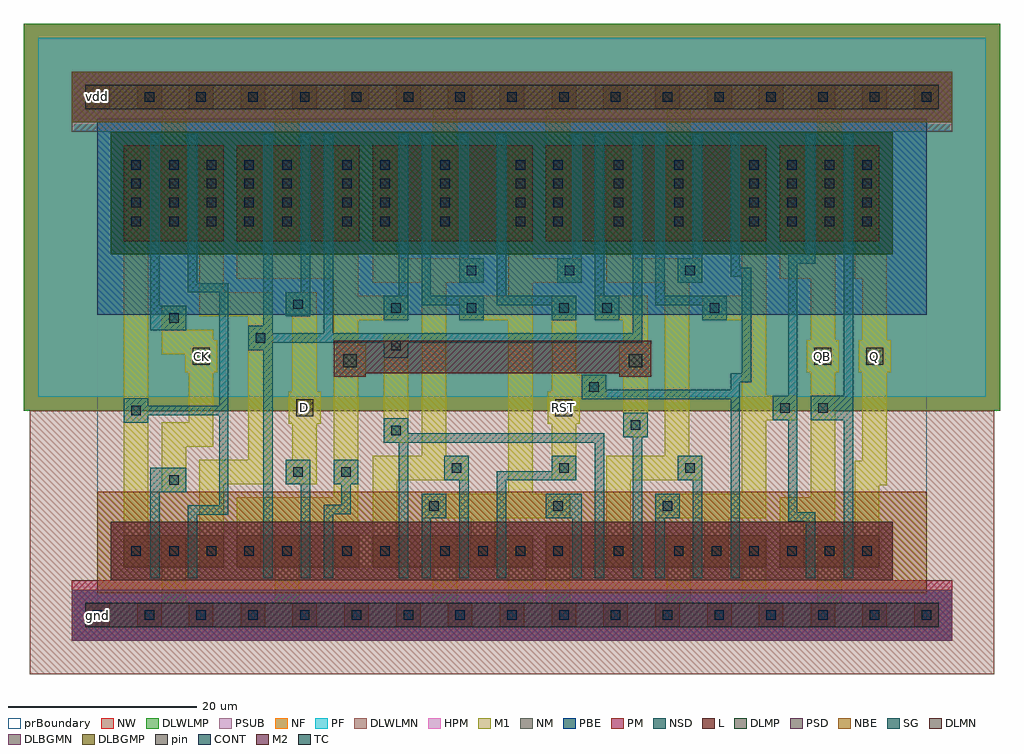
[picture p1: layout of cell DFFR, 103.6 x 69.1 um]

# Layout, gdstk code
import gdstk
lib = gdstk.Library(unit=1e-6, precision=1e-09)
def R(c, l, rs):  # rectangles x0, y0, x1, y1
    for r in rs: c.add(gdstk.rectangle(r[:2], r[2:], *l))
def A(c, l, x, y, w, h, nx, ny, dx, dy):  # array of equal rectangles
    R(c, l, [(x+i*dx, y+j*dy, x+i*dx+w, y+j*dy+h) for i in range(nx) for j in range(ny)])
def P(c, l, *ps):  # polygons
    for p in ps: c.add(gdstk.Polygon(p, *l))
L = (3, 0)
NM = (7, 0)
SG = (8, 0)
PSD = (9, 0)
CONT = (11, 0)
M1 = (13, 0)
TC = (19, 0)
M2 = (20, 0)
NF = (25, 0)
PF = (26, 0)
NSD = (28, 0)
HPM = (33, 0)
PM = (35, 0)
NW = (36, 0)
pin = (48, 1)
PSUB = (140, 0)
PBE = (146, 0)
NBE = (147, 0)
DLWLMP = (150, 0)
DLWLMN = (151, 0)
DLMP = (157, 0)
DLMN = (158, 0)
DLBGMP = (177, 0)
DLBGMN = (178, 0)
prBoundary = (235, 0)

dffr = lib.new_cell('DFFR')
A(dffr, L, -1.3, -1.3, 2.6, 2.6, 17, 2, 5.5, 55)
R(dffr, L, [(2.8,5.1,13.4,8.5), (14.8,5.1,27.8,8.5), (29.2,5.1,46.2,8.5), (47.6,5.1,71,8.5), (72.4,5.1,83,8.5), (2.8,39.7,13.4,49.9), (14.8,39.7,27.8,49.9), (29.2,39.7,46.2,49.9), (47.6,39.7,71,49.9), (72.4,39.7,83,49.9)])
R(dffr, NM, [(-2.75,-2.7,90.75,2.7)])
P(dffr, NM, [(1.4,38.3),(1.4,51.3),(-2.75,51.3),(-2.75,57.7),(90.75,57.7),(90.75,51.3),(84.4,51.3),(84.4,38.3)])
P(dffr, SG, [(5.6,3.9),(5.6,15.65),(9.4,15.65),(9.4,13.05),(6.6,13.05),(6.6,3.9)],
  [(9.6,3.9),(9.6,11.65),(12.9,11.65),(12.9,21.2),(5.4,21.2),(5.4,20.4),(2.8,20.4),(2.8,23),(5.4,23),(5.4,22.2),(12.9,22.2),(12.9,34.25),(9.6,34.25),(9.6,51.1),(10.6,51.1),(10.6,35.25),(13.9,35.25),(13.9,10.65),(10.6,10.65),(10.6,3.9)],
  [(17.6,3.9),(17.6,28.1),(16,28.1),(16,30.7),(17.6,30.7),(17.6,51.1),(18.6,51.1),(18.6,29.9),(24,29.9),(24,51.1),(25,51.1),(25,29.9),(56.8,29.9),(56.8,51.1),(57.8,51.1),(57.8,28.9),(33,28.9),(33,27.3),(30.4,27.3),(30.4,28.9),(18.6,28.9),(18.6,3.9)],
  [(32,3.9),(32,18.3),(30.4,18.3),(30.4,20.9),(33,20.9),(33,19.3),(53.8,19.3),(53.8,3.9),(52.8,3.9),(52.8,18.3),(33,18.3),(33,3.9)],
  [(50.4,3.9),(50.4,10.3),(47.6,10.3),(47.6,12.9),(51.4,12.9),(51.4,3.9)],
  [(67.2,3.9),(67.2,22.9),(51.4,22.9),(51.4,25.5),(54,25.5),(54,23.9),(67.2,23.9),(67.2,25.7),(68.4,25.7),(68.4,35.9),(67.2,35.9),(67.2,51.1),(68.2,51.1),(68.2,36.9),(69.4,36.9),(69.4,24.7),(68.2,24.7),(68.2,3.9)],
  [(75.2,3.9),(75.2,9.9),(73.3,9.9),(73.3,20.7),(71.7,20.7),(71.7,23.3),(73.3,23.3),(73.3,38.3),(75.2,38.3),(75.2,51.1),(76.2,51.1),(76.2,37.3),(74.3,37.3),(74.3,10.9),(76.2,10.9),(76.2,3.9)],
  [(79.2,3.9),(79.2,20.7),(75.7,20.7),(75.7,23.3),(79.2,23.3),(79.2,51.1),(80.2,51.1),(80.2,3.9)],
  [(34.4,3.9),(34.4,12.9),(37,12.9),(37,10.3),(35.4,10.3),(35.4,3.9)],
  [(59.2,3.9),(59.2,12.9),(61.8,12.9),(61.8,10.3),(60.2,10.3),(60.2,3.9)],
  [(21.6,3.9),(21.6,13.9),(20,13.9),(20,16.5),(22.6,16.5),(22.6,3.9)],
  [(24,3.9),(24,11.7),(25.9,11.7),(25.9,13.9),(25.1,13.9),(25.1,16.5),(27.7,16.5),(27.7,13.9),(26.9,13.9),(26.9,10.7),(25,10.7),(25,3.9)],
  [(38.4,3.9),(38.4,14.3),(36.8,14.3),(36.8,16.9),(39.4,16.9),(39.4,3.9)],
  [(42.4,3.9),(42.4,15.3),(48.2,15.3),(48.2,16.9),(50.8,16.9),(50.8,14.3),(43.4,14.3),(43.4,3.9)],
  [(63.2,3.9),(63.2,14.3),(61.6,14.3),(61.6,16.9),(64.2,16.9),(64.2,3.9)],
  [(56.8,3.9),(56.8,18.9),(55.8,18.9),(55.8,21.5),(58.4,21.5),(58.4,18.9),(57.8,18.9),(57.8,3.9)],
  [(5.6,30.25),(5.6,51.1),(6.6,51.1),(6.6,32.85),(9.4,32.85),(9.4,30.25)],
  [(20,31.7),(20,34.3),(21.6,34.3),(21.6,51.1),(22.6,51.1),(22.6,31.7)],
  [(30.4,31.3),(30.4,33.9),(32,33.9),(32,51.1),(33,51.1),(33,31.3)],
  [(38.4,31.3),(38.4,32.9),(34.4,32.9),(34.4,51.1),(35.4,51.1),(35.4,33.9),(41,33.9),(41,31.3)],
  [(38.4,35.3),(38.4,51.1),(39.4,51.1),(39.4,37.9),(41,37.9),(41,35.3)],
  [(48.2,31.3),(48.2,32.9),(42.4,32.9),(42.4,51.1),(43.4,51.1),(43.4,33.9),(50.8,33.9),(50.8,31.3)],
  [(48.8,35.3),(48.8,37.9),(50.4,37.9),(50.4,51.1),(51.4,51.1),(51.4,35.3)],
  [(52.8,31.3),(52.8,51.1),(53.8,51.1),(53.8,33.9),(55.4,33.9),(55.4,31.3)],
  [(64.2,31.3),(64.2,32.9),(59.2,32.9),(59.2,51.1),(60.2,51.1),(60.2,33.9),(66.8,33.9),(66.8,31.3)],
  [(61.6,35.3),(61.6,37.9),(63.2,37.9),(63.2,51.1),(64.2,51.1),(64.2,35.3)])
R(dffr, PSD, [(1.4,3.7,84.4,9.9), (-2.75,52.3,90.75,57.7)])
A(dffr, CONT, -0.5, -0.5, 1, 1, 17, 2, 5.5, 55)
A(dffr, CONT, 7.6, 6.3, 1, 1, 4, 2, 4, 35)
A(dffr, CONT, 40.4, 6.3, 1, 1, 3, 1, 4, 0)
A(dffr, CONT, 65.2, 6.3, 1, 1, 4, 1, 4, 0)
A(dffr, CONT, 3.6, 41.3, 1, 1, 1, 4, 0, 2)
A(dffr, CONT, 7.6, 41.3, 1, 1, 1, 4, 0, 2)
A(dffr, CONT, 19.6, 41.3, 1, 1, 1, 4, 0, 2)
A(dffr, CONT, 26, 41.3, 1, 1, 1, 4, 0, 2)
A(dffr, CONT, 30, 41.3, 1, 1, 1, 4, 0, 2)
A(dffr, CONT, 44.4, 41.3, 1, 1, 1, 4, 0, 2)
A(dffr, CONT, 48.4, 41.3, 1, 1, 1, 4, 0, 2)
A(dffr, CONT, 69.2, 41.3, 1, 1, 3, 4, 4, 2)
A(dffr, CONT, 77.2, 41.3, 1, 1, 1, 4, 0, 2)
A(dffr, CONT, 81.2, 41.3, 1, 1, 1, 4, 0, 2)
A(dffr, CONT, 7.6, 43.3, 1, 1, 4, 3, 4, 2)
R(dffr, CONT, [(3.6,6.3,4.6,7.3), (7.6,6.3,8.6,7.3), (19.6,6.3,20.6,7.3), (26,6.3,27,7.3), (30,6.3,31,7.3), (36.4,6.3,37.4,7.3), (36.4,6.3,37.4,7.3), (40.4,6.3,41.4,7.3), (54.8,6.3,55.8,7.3), (54.8,6.3,55.8,7.3), (61.2,6.3,62.2,7.3), (61.2,6.3,62.2,7.3), (65.2,6.3,66.2,7.3), (77.2,6.3,78.2,7.3), (81.2,6.3,82.2,7.3), (35.2,11.1,36.2,12.1), (48.4,11.1,49.4,12.1), (60,11.1,61,12.1), (7.6,13.85,8.6,14.85), (20.8,14.7,21.8,15.7), (25.9,14.7,26.9,15.7), (37.6,15.1,38.6,16.1), (49,15.1,50,16.1), (62.4,15.1,63.4,16.1), (31.2,19.1,32.2,20.1), (56.6,19.7,57.6,20.7), (3.6,21.2,4.6,22.2), (72.5,21.5,73.5,22.5), (76.5,21.5,77.5,22.5), (52.2,23.7,53.2,24.7), (31.2,28.1,32.2,29.1), (16.8,28.9,17.8,29.9), (7.6,31.05,8.6,32.05), (31.2,32.1,32.2,33.1), (39.2,32.1,40.2,33.1), (49,32.1,50,33.1), (53.6,32.1,54.6,33.1), (65,32.1,66,33.1), (20.8,32.5,21.8,33.5), (39.2,36.1,40.2,37.1), (49.6,36.1,50.6,37.1), (62.4,36.1,63.4,37.1), (36.4,41.3,37.4,42.3), (36.4,41.3,37.4,42.3), (54.8,41.3,55.8,42.3), (54.8,41.3,55.8,42.3), (61.2,41.3,62.2,42.3), (61.2,41.3,62.2,42.3), (36.4,43.3,37.4,44.3), (36.4,43.3,37.4,44.3), (54.8,43.3,55.8,44.3), (54.8,43.3,55.8,44.3), (61.2,43.3,62.2,44.3), (61.2,43.3,62.2,44.3), (36.4,45.3,37.4,46.3), (36.4,45.3,37.4,46.3), (54.8,45.3,55.8,46.3), (54.8,45.3,55.8,46.3), (61.2,45.3,62.2,46.3), (61.2,45.3,62.2,46.3), (36.4,47.3,37.4,48.3), (36.4,47.3,37.4,48.3), (54.8,47.3,55.8,48.3), (54.8,47.3,55.8,48.3), (61.2,47.3,62.2,48.3), (61.2,47.3,62.2,48.3)])
R(dffr, M1, [(2.8,5.1,5.4,49.9), (30.4,18.3,33,29.9)])
P(dffr, M1, [(6.8,13.05),(6.8,20.5),(9.7,20.5),(9.7,25.8),(9.3,25.8),(9.3,27.7),(6.8,27.7),(6.8,32.85),(9.4,32.85),(9.4,30.3),(12.3,30.3),(12.3,29.2),(12.7,29.2),(12.7,25.8),(12.3,25.8),(12.3,17.9),(9.4,17.9),(9.4,13.05)],
  [(10.8,5.1),(10.8,16.5),(16,16.5),(16,31.7),(10.8,31.7),(10.8,49.9),(13.4,49.9),(13.4,34.3),(18.6,34.3),(18.6,13.9),(13.4,13.9),(13.4,5.1)],
  [(39.6,5.1),(39.6,10.3),(34.4,10.3),(34.4,12.9),(43.6,12.9),(43.6,31.3),(38.4,31.3),(38.4,33.9),(43.6,33.9),(43.6,49.9),(46.2,49.9),(46.2,37.9),(51.4,37.9),(51.4,35.3),(46.2,35.3),(46.2,12.9),(50.2,12.9),(50.2,10.3),(42.2,10.3),(42.2,5.1)],
  [(64.4,5.1),(64.4,10.3),(59.2,10.3),(59.2,12.9),(68.4,12.9),(68.4,31.3),(64.2,31.3),(64.2,33.9),(68.4,33.9),(68.4,49.9),(71,49.9),(71,23.3),(74.3,23.3),(74.3,20.7),(71,20.7),(71,10.3),(67,10.3),(67,5.1)],
  [(80.4,5.1),(80.4,16.4),(81.2,16.4),(81.2,25.8),(80.8,25.8),(80.8,29.2),(81.2,29.2),(81.2,35.7),(80.4,35.7),(80.4,49.9),(83,49.9),(83,38.3),(83.8,38.3),(83.8,29.2),(84.2,29.2),(84.2,25.8),(83.8,25.8),(83.8,13.8),(83,13.8),(83,5.1)],
  [(25.2,5.1),(25.2,8.5),(29.2,8.5),(29.2,16.9),(34.4,16.9),(34.4,35.3),(29.2,35.3),(29.2,39.7),(25.2,39.7),(25.2,49.9),(31.8,49.9),(31.8,37.9),(41,37.9),(41,35.3),(37,35.3),(37,16.9),(39.4,16.9),(39.4,14.3),(31.8,14.3),(31.8,5.1)],
  [(-1.3,-1.3),(-1.3,1.3),(6.8,1.3),(6.8,8.5),(9.4,8.5),(9.4,1.3),(18.8,1.3),(18.8,8.5),(21.4,8.5),(21.4,1.3),(35.6,1.3),(35.6,8.5),(38.2,8.5),(38.2,1.3),(43.6,1.3),(43.6,8.5),(46.2,8.5),(46.2,1.3),(47.6,1.3),(47.6,8.5),(50.2,8.5),(50.2,1.3),(60.4,1.3),(60.4,8.5),(63,8.5),(63,1.3),(68.4,1.3),(68.4,8.5),(71,8.5),(71,1.3),(76.4,1.3),(76.4,8.5),(79,8.5),(79,1.3),(89.3,1.3),(89.3,-1.3)],
  [(48.2,14.3),(48.2,20.3),(47.8,20.3),(47.8,23.7),(48.2,23.7),(48.2,33.9),(50.8,33.9),(50.8,25.5),(54,25.5),(54,22.9),(51.2,22.9),(51.2,20.3),(50.8,20.3),(50.8,14.3)],
  [(55.8,18.9),(55.8,25.3),(55.4,25.3),(55.4,28.7),(55.8,28.7),(55.8,31.3),(52.8,31.3),(52.8,33.9),(58.4,33.9),(58.4,28.7),(58.8,28.7),(58.8,25.3),(58.4,25.3),(58.4,18.9)],
  [(20,13.9),(20,16.5),(20.7,16.5),(20.7,20.3),(20.3,20.3),(20.3,23.7),(20.7,23.7),(20.7,31.7),(20,31.7),(20,34.3),(23.3,34.3),(23.3,23.7),(23.7,23.7),(23.7,20.3),(23.3,20.3),(23.3,13.9)],
  [(14.8,5.1),(14.8,12.5),(25.1,12.5),(25.1,35.7),(14.8,35.7),(14.8,49.9),(17.4,49.9),(17.4,38.3),(27.7,38.3),(27.7,33.9),(33,33.9),(33,31.3),(27.7,31.3),(27.7,28.7),(28.5,28.7),(28.5,25.3),(27.7,25.3),(27.7,9.9),(17.4,9.9),(17.4,5.1)],
  [(54,5.1),(54,16.9),(60.2,16.9),(60.2,35.3),(54,35.3),(54,49.9),(56.6,49.9),(56.6,37.9),(64.2,37.9),(64.2,35.3),(62.8,35.3),(62.8,16.9),(64.2,16.9),(64.2,14.3),(56.6,14.3),(56.6,5.1)],
  [(72.4,5.1),(72.4,12.5),(75.7,12.5),(75.7,25.8),(75.3,25.8),(75.3,29.2),(75.7,29.2),(75.7,35.7),(72.4,35.7),(72.4,49.9),(75,49.9),(75,38.3),(78.3,38.3),(78.3,29.2),(78.7,29.2),(78.7,25.8),(78.3,25.8),(78.3,9.9),(75,9.9),(75,5.1)],
  [(6.8,39.7),(6.8,53.7),(-1.3,53.7),(-1.3,56.3),(89.3,56.3),(89.3,53.7),(79,53.7),(79,39.7),(76.4,39.7),(76.4,53.7),(63,53.7),(63,39.7),(60.4,39.7),(60.4,53.7),(50.2,53.7),(50.2,39.7),(47.6,39.7),(47.6,53.7),(38.2,53.7),(38.2,39.7),(35.6,39.7),(35.6,53.7),(21.4,53.7),(21.4,39.7),(18.8,39.7),(18.8,53.7),(9.4,53.7),(9.4,39.7)])
R(dffr, TC, [(26.1,26.3,27.5,27.7), (56.4,26.3,57.8,27.7)])
P(dffr, M2, [(25.1,25.3),(25.1,29.1),(58.8,29.1),(58.8,25.3),(55.4,25.3),(55.4,25.7),(28.5,25.7),(28.5,25.3)])
R(dffr, NF, [(-6.3,23.2,94.3,61.3)])
R(dffr, PF, [(-6.3,23.2,94.3,61.3)])
R(dffr, NSD, [(-2.75,-2.7,90.75,2.7), (1.4,38.3,84.4,51.3)])
P(dffr, HPM, [(-2.75,-2.7),(-2.75,3.7),(1.4,3.7),(1.4,9.9),(84.4,9.9),(84.4,3.7),(90.75,3.7),(90.75,-2.7)],
  [(1.4,38.3),(1.4,51.3),(-2.75,51.3),(-2.75,57.7),(90.75,57.7),(90.75,51.3),(84.4,51.3),(84.4,38.3)])
R(dffr, PM, [(-2.75,52.3,90.75,57.7)])
P(dffr, PM, [(-2.75,-2.7),(-2.75,3.7),(1.4,3.7),(1.4,9.9),(84.4,9.9),(84.4,3.7),(90.75,3.7),(90.75,-2.7)])
R(dffr, NW, [(-7.8,21.7,95.8,62.8)])
R(dffr, pin, [(-1.3,-1.3,89.3,1.3), (21.1,21.1,22.9,22.9), (48.6,21.1,50.4,22.9), (10.1,26.6,11.9,28.4), (76.1,26.6,77.9,28.4), (81.6,26.6,83.4,28.4), (-1.3,53.7,89.3,56.3)])
R(dffr, PSUB, [(-6.3,23.2,94.3,61.3)])
R(dffr, PBE, [(0,31.9,88,52.7)])
R(dffr, NBE, [(0,2.3,88,13.1)])
R(dffr, DLWLMP, [(-7.8,21.7,95.8,62.8)])
R(dffr, DLWLMN, [(-7.2,-6.3,95.2,21.7)])
R(dffr, DLMP, [(1.4,38.3,84.4,51.3)])
R(dffr, DLMN, [(1.4,3.7,84.4,9.9)])
R(dffr, DLBGMP, [(-2.75,52.3,90.75,57.7)])
R(dffr, DLBGMN, [(-2.75,-2.7,90.75,2.7)])
R(dffr, prBoundary, [(0,0,88,55), (0,0,88,55)])
dffr.add(gdstk.Label('D', (22,22), layer=48, texttype=0))
dffr.add(gdstk.Label('RST', (49.5,22), layer=48, texttype=0))
dffr.add(gdstk.Label('QB', (77,27.5), layer=48, texttype=0))
dffr.add(gdstk.Label('Q', (82.5,27.5), layer=48, texttype=0))
dffr.add(gdstk.Label('gnd', (0,0), layer=48, texttype=0))
dffr.add(gdstk.Label('CK', (11,27.5), layer=48, texttype=0))
dffr.add(gdstk.Label('vdd', (0,55), layer=48, texttype=0))

lib.write_gds('DFFR.gds')
